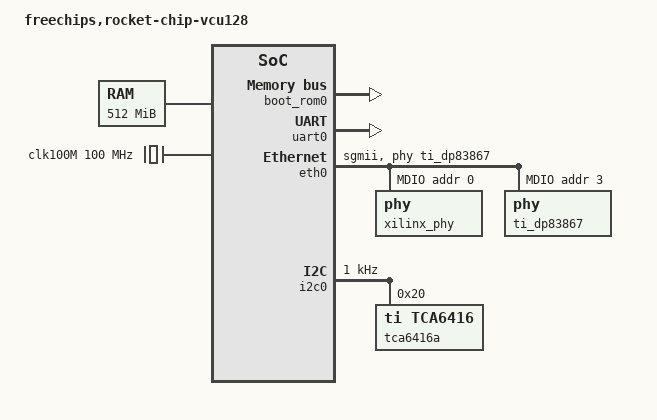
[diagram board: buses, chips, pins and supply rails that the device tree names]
/dts-v1/;

#include <dt-bindings/gpio/gpio.h>

/ {
	#address-cells = <2>;
	#size-cells = <2>;
	compatible = "freechips,rocket-chip-dev";
	model = "freechips,rocket-chip-vcu128";

	chosen {
		bootargs = "earlycon console=ttyS0,115200n8";
		stdout-path = "/soc/serial@60200000";
	};

	aliases {
		serial0 = &uart0;
		spi0 = &qspi0;
		eth0 = &eth0;
		i2c0 = &i2c0;
	};

	cpus {
		#address-cells = <1>;
		#size-cells = <0>;
		timebase-frequency = <500000>;
	};
	ram0: memory@80000000 {
		device_type = "memory";
		reg = <0x0 0x80000000 0x0 0x20000000>;
	};
	clocks {
		axi_clk: axi_clk {
			#clock-cells = <0>;
			compatible = "fixed-clock";
			clock-frequency = <100000000>;
		};
	};
	soc {
		#address-cells = <2>;
		#size-cells = <2>;
		compatible = "freechips,rocketchip-unknown-soc", "simple-bus";
		ranges;

		clk100M: clk100M {
			#clock-cells = <0>;
			compatible = "fixed-clock";
			clock-frequency = <100000000>;
		};
		clint0: clint@2000000 {
			compatible = "riscv,clint0";
			reg = <0x0 0x2000000 0x0 0x10000>;
			reg-names = "control";
		};
		error0: error-device@3000 {
			compatible = "sifive,error0";
			reg = <0x0 0x3000 0x0 0x1000>;
		};
		plic0: interrupt-controller@c000000 {
			#interrupt-cells = <1>;
			compatible = "riscv,plic0";
			interrupt-controller;
			reg = <0x0 0xc000000 0x0 0x4000000>;
			reg-names = "control";
			riscv,max-priority = <7>;
			riscv,ndev = <6>;
		};
		mmio0: mmio-port-axi4@60000000 {
			#address-cells = <1>;
			#size-cells = <1>;
			compatible = "simple-bus";
			ranges = <0x0 0x60000000 0x60000000 0x20000000>;
		};
		boot_rom0: rom@10000 {
			compatible = "sifive,rom0";
			reg = <0x0 0x10000 0x0 0x10000>;
			reg-names = "mem";
		};
		pbus0: subsystem_pbus_clock {
			#clock-cells = <0>;
			clock-frequency = <100000000>;
			clock-output-names = "subsystem_pbus_clock";
			compatible = "fixed-clock";
		};
		uart0: serial@60200000 {
			compatible = "ns16550a";
			reg = <0x0 0x60200000 0x0 0x2000>;
			reg-shift = <2>;
			reg-offset = <0x1000>;
			clock-frequency = <100000000>;
			interrupts-extended = <&plic0 1>;
		};
		qspi0: spi@60100000 {
			compatible = "xlnx,xps-spi-2.00.a";
			reg = <0x0 0x60100000 0x0 0x1000>;
			fifo-size = <256>;
			#address-cells = <1>;
			#size-cells = <0>;
			interrupts-extended = <&plic0 2>;
			xlnx,num-ss-bits = <0x1>;
			status = "disabled";

			// 256MB
			flash@0 {
				compatible = "mt25qu02g", "jedec,spi-nor";
				reg = <0>;
				spi-max-frequency = <30000000>;

				partitions {
					compatible = "fixed-partitions";
					#address-cells = <1>;
					#size-cells = <1>;

					// 128MiB bitstream
					partition@0 {
						label = "bitstream";
						reg = <0x0 0x8000000>;
					};

					// 16MiB data partition
					partition@100000 {
						label = "data";
						reg = <0x8000000 0x1000000>;
					};
				};
			};
		};
		eth_dma0: eth_dma@60300000 {
			reg = <0x0 0x60300000 0x0 0x10000>;
			interrupts-extended = <&plic0 5 &plic0 4>; // TX, RX
		};
		eth0: eth0@60400000 {
			compatible = "xlnx,axi-ethernet-1.00.a";
			reg = <0x0 0x60400000 0x0 0x10000>;
			mac-address = [00 11 22 33 44 55];
			device_type = "network";
			axistream-connected = <&eth_dma0>;
			phy-handle = <&ti_dp83867>;
			phy-mode = "sgmii";
			interrupts-extended = <&plic0 3>;
			clock-names = "s_axi_lite_clk", "axis_clk";
			clocks = <&axi_clk>, <&axi_clk>;

			mdio: mdio {
				#address-cells = <1>;
				#size-cells = <0>;
				// reset-gpios = <&tca6416a 6 GPIO_ACTIVE_LOW>;
				// reset-delay-us = <2>;

				// PCS/PMA PHY
				xilinx_phy: phy@0 {
					#phy-cells = <1>;
					device_type = "ethernet-phy";
					reg = <0>;
				};

				// External PHY
				ti_dp83867: phy@3 {
					#phy-cells = <1>;
					device_type = "ethernet-phy";
					reg = <3>;
					ti,sgmii-ref-clock-output-enable;
					ti,dp83867-rxctrl-strap-quirk;
				};
			};
		};
		i2c0: i2c@60500000 {
			compatible = "xlnx,xps-iic-2.00.a";
			reg = <0x0 0x60500000 0x0 0x10000>;
			#size-cells = <0>;
			#address-cells = <1>;
			clock-frequency = <1000>;
			interrupts-extended = <&plic0 6>;
			clocks = <&clk100M>;

			// GPIO Expander
			tca6416a: gpio@20 {
				compatible = "ti,tca6416";
				reg = <0x20>;
				#gpio-cells = <2>;
				gpio-controller;
			};
		};
	};
};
